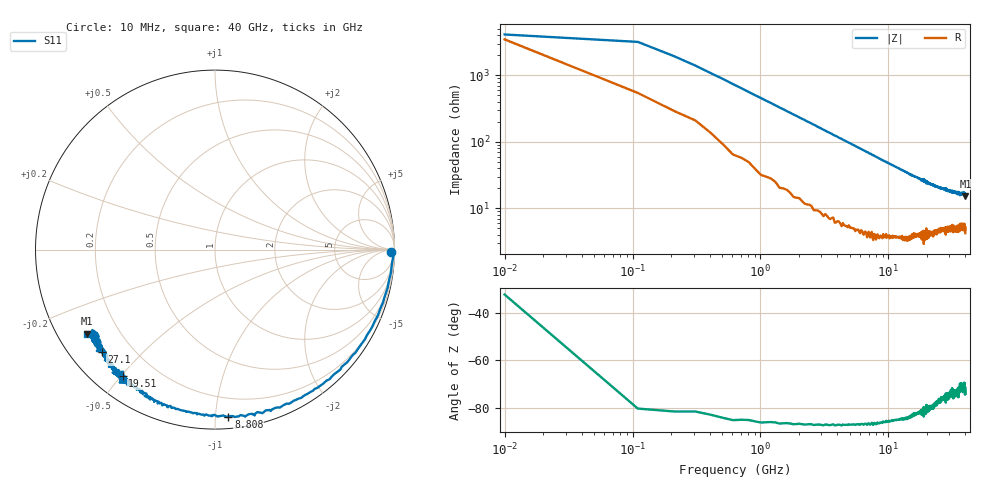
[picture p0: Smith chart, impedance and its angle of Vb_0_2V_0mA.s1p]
!Agilent Technologies,N5247A,US51170167,A.09.90.10
!Agilent N5247A: A.09.90.10
!Date: Tuesday, November 22, 2016 15:28:24
!Correction: S22(Full 1 Port(2))
!S1P File: Measurement: S22:
# Hz S  RI  R 50
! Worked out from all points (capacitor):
!   401 points, 10 MHz to 40 GHz, reference 50 ohm
!   read as one part to ground: C = 371 fF near 209.9 MHz
!   lowest |Z| = 15.4 ohm at 40 GHz (marker M1)
!   S11 on the Smith chart (normalised r, x): 10 MHz: 69, -44; 8.808 GHz: 0.08, -1.08; 19.51 GHz: 0.09, -0.51; 27.1 GHz: 0.09, -0.38; 40 GHz: 0.08, -0.30
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1e7  0.9796 -0.0128
2.0995e8  0.991 -0.0503
8.098e8  0.9692 -0.1732
2.0095e9  0.8901 -0.3985
3.6091e9  0.7227 -0.6389
5.00875e9  0.5451 -0.7863
5.80855e9  0.4377 -0.8425
7.00825e9  0.2821 -0.8961
8.8078e9  0.0745 -0.9299
1.00075e10  -0.0378 -0.9235
1.230692e10  -0.2179 -0.8873
1.500625e10  -0.3801 -0.8123
1.790552e10  -0.4754 -0.752
1.950512e10  -0.5149 -0.7051
2.0005e10  -0.5197 -0.7157
2.290428e10  -0.5932 -0.6403
2.500375e10  -0.6081 -0.5988
2.710322e10  -0.6322 -0.5707
3.00025e10  -0.6352 -0.5294
3.100225e10  -0.6517 -0.527
3.190202e10  -0.6374 -0.5145
3.500125e10  -0.6612 -0.5056
3.56011e10  -0.6826 -0.4894
3.650088e10  -0.6612 -0.4843
3.830042e10  -0.6507 -0.4781
3.900025e10  -0.6473 -0.486
3.970008e10  -0.6848 -0.5005
4e10  -0.7156 -0.4684
